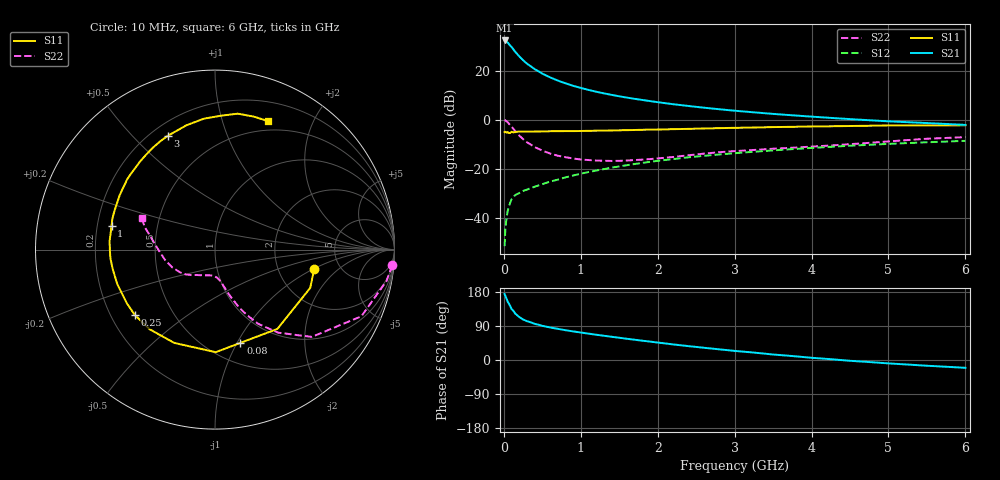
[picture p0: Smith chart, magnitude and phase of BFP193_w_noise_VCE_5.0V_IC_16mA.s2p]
! Infineon Technologies  Discrete & RF Semiconductors
! BFP193
! VCE =  5.0 V,  IC =  16 mA
! Common Emitter S-Parameters:  Jan 2017
# GHz  S  MA  R  50
!  f  S11  S21  S12  S22
! GHz  MAG  ANG  MAG  ANG  MAG  ANG  MAG  ANG
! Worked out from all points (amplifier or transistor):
!   77 points, 10 MHz to 6 GHz, reference 50 ohm
!   highest |S21| = 32.2 dB at 10 MHz (marker M1)
!   |S21| within 3 dB of that: start of sweep to 108.7 MHz
!   unconditionally stable (mu >= 1): 939.6 MHz to 2.526 GHz
!   at 130 MHz: K = 0.33, MSG = 29.8 dB, |S12| = -31.2 dB
!   at 2.2 GHz: K = 1.02, MAG = 10.3 dB, |S12| = -16.0 dB
!   at 6 GHz: K = 0.89, MSG = 3.2 dB, |S12| = -8.6 dB
!   lowest NFmin = 0.97 dB at 450 MHz
!   S11 on the Smith chart (normalised r, x): 10 MHz: 3.22, -1.03; 80 MHz: 0.70, -1.03; 250 MHz: 0.30, -0.33; 1 GHz: 0.26, +0.11; 3 GHz: 0.26, +0.64; 6 GHz: 0.40, +1.42
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0.01  0.563 -11.2  40.93 174.3  0.0027 86.2  0.9917 -5.1
0.02  0.572 -21.9  40.86 169.0  0.006 85.9  0.9713 -10.4
0.05  0.5622 -51.8  37.27 153.8  0.0141 70.6  0.8962 -24.5
0.08  0.5385 -74.8  32.56 143.4  0.0201 61.7  0.7853 -34.1
0.1  0.5715 -89.6  30.16 134.8  0.0242 58.3  0.7267 -42.0
0.15  0.5672 -113.5  23.9 122.1  0.0297 51.2  0.5809 -52.8
0.2  0.5741 -129.3  19.45 113.5  0.0324 49.4  0.4785 -59.8
0.25  0.5765 -140.9  16.23 107.0  0.0358 48.0  0.404 -64.1
0.3  0.575 -148.8  13.83 102.5  0.0381 48.5  0.3495 -67.4
0.4  0.5774 -160.4  10.7 95.4  0.0435 50.2  0.2787 -71.5
0.5  0.5799 -168.9  8.66 90.2  0.0491 52.3  0.2359 -74.5
0.6  0.5848 -175.2  7.293 85.9  0.0553 53.6  0.2065 -76.9
0.7  0.5861 179.7  6.275 82.3  0.0607 55.0  0.186 -78.9
1  0.5916 166.9  4.439 72.5  0.0801 57.0  0.1556 -86.4
1.1  0.597 163.4  4.049 69.6  0.0867 57.4  0.152 -89.0
1.5  0.6114 150.4  2.998 58.7  0.1127 56.4  0.1464 -102.1
2.1  0.6382 133.1  2.174 43.7  0.1526 52.0  0.1694 -123.0
3  0.6864 112.5  1.528 24.0  0.2091 43.1  0.2309 -146.4
3.1  0.6897 110.6  1.483 22.3  0.2149 42.1  0.2356 -148.8
4.1  0.7339 93.4  1.132 4.4  0.2733 31.7  0.291 -171.4
5.1  0.7678 79.1  0.915 -10.2  0.3285 20.6  0.3727 167.6
6  0.7743 67.7  0.787 -20.7  0.3731 10.5  0.4444 156.6
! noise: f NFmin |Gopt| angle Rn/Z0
0.45  0.97  0.24  173  0.07
0.9  1.06  0.36  179  0.07
1.9  1.74  0.56  -142  0.14
2.4  2.05  0.62  -125  0.33
